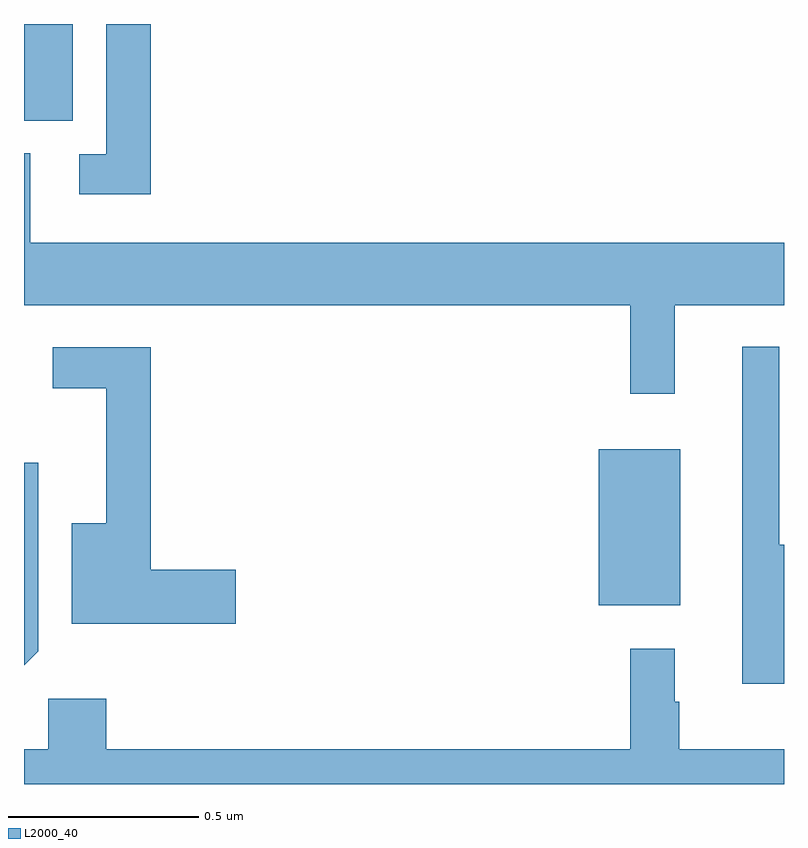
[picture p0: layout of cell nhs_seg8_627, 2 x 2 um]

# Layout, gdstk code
import gdstk
lib = gdstk.Library(unit=1e-6, precision=1e-09)
def R(c, l, rs):  # rectangles x0, y0, x1, y1
    for r in rs: c.add(gdstk.rectangle(r[:2], r[2:], *l))
def P(c, l, *ps):  # polygons
    for p in ps: c.add(gdstk.Polygon(p, *l))
L2000_40 = (2000, 40)

nhs_seg8_627 = lib.new_cell('nhs_seg8_627')
R(nhs_seg8_627, L2000_40, [(120.512,1122.371,120.727,1122.781), (119,1123.645,119.128,1123.9)])
P(nhs_seg8_627, L2000_40, [(119.333,1123.9),(119.217,1123.9),(119.217,1123.557),(119.145,1123.557),(119.145,1123.452),(119.333,1123.452)],
  [(120.713,1123.16),(121,1123.16),(121,1123.324),(119.017,1123.324),(119.017,1123.56),(119,1123.56),(119,1123.16),(120.595,1123.16),(120.595,1122.927),(120.713,1122.927)],
  [(121,1122.529),(120.987,1122.529),(120.987,1123.051),(120.89,1123.051),(120.89,1122.164),(121,1122.164)],
  [(119.557,1122.464),(119.333,1122.464),(119.333,1123.05),(119.076,1123.05),(119.076,1122.942),(119.216,1122.942),(119.216,1122.586),(119.126,1122.586),(119.126,1122.322),(119.557,1122.322)],
  [(119.037,1122.249),(119.037,1122.745),(119,1122.745),(119,1122.212)],
  [(121,1121.992),(120.724,1121.992),(120.724,1122.116),(120.712,1122.116),(120.712,1122.256),(120.595,1122.256),(120.595,1121.992),(119.216,1121.992),(119.216,1122.124),(119.064,1122.124),(119.064,1121.992),(119,1121.992),(119,1121.9),(121,1121.9)])

lib.write_gds('nhs_seg8_627.gds')
